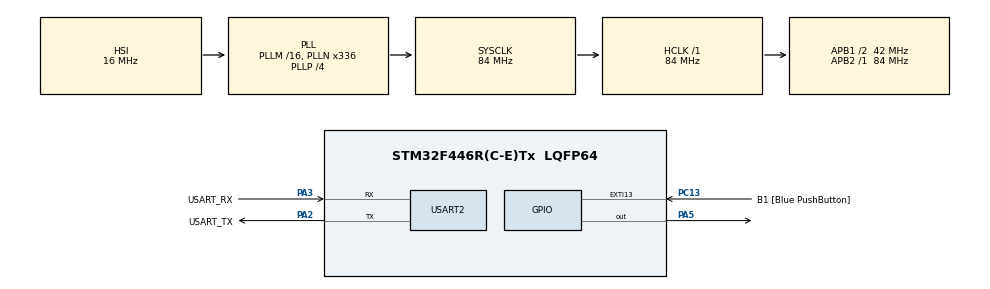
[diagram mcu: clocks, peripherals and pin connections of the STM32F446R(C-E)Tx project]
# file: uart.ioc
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Mcu.Family=STM32F4
Mcu.Name=STM32F446R(C-E)Tx
Mcu.Package=LQFP64
NVIC.PriorityGroup=NVIC_PRIORITYGROUP_0
NVIC.USART2_IRQn=true\:0\:0\:false\:false\:true\:true\:true\:true
PA13.GPIO_Label=TMS
PA13.Mode=Serial_Wire
PA13.Signal=SYS_JTMS-SWDIO
PA14.GPIO_Label=TCK
PA14.Mode=Serial_Wire
PA14.Signal=SYS_JTCK-SWCLK
PA2.GPIO_Label=USART_TX
PA2.Mode=Asynchronous
PA2.Signal=USART2_TX
PA3.GPIO_Label=USART_RX
PA3.Mode=Asynchronous
PA3.Signal=USART2_RX
PA5.Signal=GPIO_Output
PB3.GPIO_Label=SWO
PB3.Signal=SYS_JTDO-SWO
PC13.GPIO_Label=B1 [Blue PushButton]
PC13.GPIO_ModeDefaultEXTI=GPIO_MODE_IT_FALLING
PC13.Signal=GPXTI13
PC14-OSC32_IN.Mode=LSE-External-Oscillator
PC14-OSC32_IN.Signal=RCC_OSC32_IN
PC15-OSC32_OUT.Mode=LSE-External-Oscillator
PC15-OSC32_OUT.Signal=RCC_OSC32_OUT
PH0-OSC_IN.Mode=HSE-External-Oscillator
PH0-OSC_IN.Signal=RCC_OSC_IN
PH1-OSC_OUT.Mode=HSE-External-Oscillator
PH1-OSC_OUT.Signal=RCC_OSC_OUT
ProjectManager.HeapSize=0x200
ProjectManager.StackSize=0x400
ProjectManager.TargetToolchain=STM32CubeIDE
RCC.48MHZClocksFreq_Value=84000000
RCC.AHBFreq_Value=84000000
RCC.APB1CLKDivider=RCC_HCLK_DIV2
RCC.APB1Freq_Value=42000000
RCC.APB1TimFreq_Value=84000000
RCC.APB2Freq_Value=84000000
RCC.APB2TimFreq_Value=84000000
RCC.CortexFreq_Value=84000000
RCC.FLatency-AdvancedSettings=FLASH_LATENCY_2
RCC.HCLKFreq_Value=84000000
RCC.HSE_VALUE=8000000
RCC.HSI_VALUE=16000000
RCC.PLLN=336
RCC.PLLP=RCC_PLLP_DIV4
RCC.SYSCLKFreq_VALUE=84000000
RCC.SYSCLKSource=RCC_SYSCLKSOURCE_PLLCLK
RCC.USBFreq_Value=168000000
RCC.VCOOutputFreq_Value=336000000
USART2.VirtualMode=VM_ASYNC
board=NUCLEO-F446RE

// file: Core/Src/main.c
/* USER CODE BEGIN Header */
/**
  ******************************************************************************
  * @file           : main.c
  * @brief          : Main program body
  ******************************************************************************
  * @attention
  *
  * Copyright (c) 2026 STMicroelectronics.
  * All rights reserved.
  *
  * This software is licensed under terms that can be found in the LICENSE file
  * in the root directory of this software component.
  * If no LICENSE file comes with this software, it is provided AS-IS.
  *
  ******************************************************************************
  */
/* USER CODE END Header */
#include "main.h"

/* USER CODE BEGIN Includes */
#include <stdio.h>
#include <string.h>
/* USER CODE END Includes */

UART_HandleTypeDef huart2;

/* USER CODE BEGIN PV */

uint8_t rx_data[1];
uint8_t rx_buffer[100];
uint8_t rx_index = 0;
uint8_t tx_buffer[50];

/* USER CODE END PV */

void SystemClock_Config(void);
static void MX_GPIO_Init(void);
static void MX_USART2_UART_Init(void);

int main(void)
{

  /* MCU Configuration--------------------------------------------------------*/

  /* Reset of all peripherals, Initializes the Flash interface and the Systick. */
  HAL_Init();

  /* Configure the system clock */
  SystemClock_Config();

  /* Initialize all configured peripherals */
  MX_GPIO_Init();
  MX_USART2_UART_Init();

  /* USER CODE BEGIN 2 */
  HAL_UART_Receive_IT(&huart2, rx_data, 1);

  /* USER CODE END 2 */

  /* Infinite loop */
  while (1)
  {

    /* USER CODE BEGIN 3 */
	  // Transmit messages from board to computer (a little more required, like COM port)
//	  HAL_UART_Transmit(&huart2, tx_buffer, 27, 10);
//	  HAL_Delay(1000);

  }
  /* USER CODE END 3 */
}

void SystemClock_Config(void)
{
  RCC_OscInitTypeDef RCC_OscInitStruct = {0};
  RCC_ClkInitTypeDef RCC_ClkInitStruct = {0};

  /** Configure the main internal regulator output voltage
  */
  __HAL_RCC_PWR_CLK_ENABLE();
  __HAL_PWR_VOLTAGESCALING_CONFIG(PWR_REGULATOR_VOLTAGE_SCALE3);

  /** Initializes the RCC Oscillators according to the specified parameters
  * in the RCC_OscInitTypeDef structure.
  */
  RCC_OscInitStruct.OscillatorType = RCC_OSCILLATORTYPE_HSI;
  RCC_OscInitStruct.HSIState = RCC_HSI_ON;
  RCC_OscInitStruct.HSICalibrationValue = RCC_HSICALIBRATION_DEFAULT;
  RCC_OscInitStruct.PLL.PLLState = RCC_PLL_ON;
  RCC_OscInitStruct.PLL.PLLSource = RCC_PLLSOURCE_HSI;
  RCC_OscInitStruct.PLL.PLLM = 16;
  RCC_OscInitStruct.PLL.PLLN = 336;
  RCC_OscInitStruct.PLL.PLLP = RCC_PLLP_DIV4;
  RCC_OscInitStruct.PLL.PLLQ = 2;
  RCC_OscInitStruct.PLL.PLLR = 2;
  if (HAL_RCC_OscConfig(&RCC_OscInitStruct) != HAL_OK)
  {
    Error_Handler();
  }

  /** Initializes the CPU, AHB and APB buses clocks
  */
  RCC_ClkInitStruct.ClockType = RCC_CLOCKTYPE_HCLK|RCC_CLOCKTYPE_SYSCLK
                              |RCC_CLOCKTYPE_PCLK1|RCC_CLOCKTYPE_PCLK2;
  RCC_ClkInitStruct.SYSCLKSource = RCC_SYSCLKSOURCE_PLLCLK;
  RCC_ClkInitStruct.AHBCLKDivider = RCC_SYSCLK_DIV1;
  RCC_ClkInitStruct.APB1CLKDivider = RCC_HCLK_DIV2;
  RCC_ClkInitStruct.APB2CLKDivider = RCC_HCLK_DIV1;

  if (HAL_RCC_ClockConfig(&RCC_ClkInitStruct, FLASH_LATENCY_2) != HAL_OK)
  {
    Error_Handler();
  }
}

static void MX_USART2_UART_Init(void)
{

  huart2.Instance = USART2;
  huart2.Init.BaudRate = 115200;
  huart2.Init.WordLength = UART_WORDLENGTH_8B;
  huart2.Init.StopBits = UART_STOPBITS_1;
  huart2.Init.Parity = UART_PARITY_NONE;
  huart2.Init.Mode = UART_MODE_TX_RX;
  huart2.Init.HwFlowCtl = UART_HWCONTROL_NONE;
  huart2.Init.OverSampling = UART_OVERSAMPLING_16;
  if (HAL_UART_Init(&huart2) != HAL_OK)
  {
    Error_Handler();
  }

}

static void MX_GPIO_Init(void)
{
  GPIO_InitTypeDef GPIO_InitStruct = {0};

  /* GPIO Ports Clock Enable */
  __HAL_RCC_GPIOC_CLK_ENABLE();
  __HAL_RCC_GPIOH_CLK_ENABLE();
  __HAL_RCC_GPIOA_CLK_ENABLE();
  __HAL_RCC_GPIOB_CLK_ENABLE();

  /*Configure GPIO pin Output Level */
  HAL_GPIO_WritePin(GPIOA, GPIO_PIN_5, GPIO_PIN_RESET);

  /*Configure GPIO pin : B1_Pin */
  GPIO_InitStruct.Pin = B1_Pin;
  GPIO_InitStruct.Mode = GPIO_MODE_IT_FALLING;
  GPIO_InitStruct.Pull = GPIO_NOPULL;
  HAL_GPIO_Init(B1_GPIO_Port, &GPIO_InitStruct);

  /*Configure GPIO pin : PA5 */
  GPIO_InitStruct.Pin = GPIO_PIN_5;
  GPIO_InitStruct.Mode = GPIO_MODE_OUTPUT_PP;
  GPIO_InitStruct.Pull = GPIO_NOPULL;
  GPIO_InitStruct.Speed = GPIO_SPEED_FREQ_LOW;
  HAL_GPIO_Init(GPIOA, &GPIO_InitStruct);

}

/* USER CODE BEGIN 4 */

void HAL_UART_RxCpltCallback(UART_HandleTypeDef *huart)
{
  UNUSED(huart);

  if (rx_data[0] == '\n' || rx_data[0] == '\r')
  {
    if (rx_index > 0)
    {
      uint8_t count = rx_index;
      sprintf((char*)tx_buffer, "Character count: %d\r\n", count);
      HAL_UART_Transmit(&huart2, tx_buffer, strlen((char*)tx_buffer), 100);
      rx_index = 0;
    }
  }
  else if (rx_index < sizeof(rx_buffer) - 1)
  {
    rx_buffer[rx_index++] = rx_data[0];
  }

  HAL_UART_Receive_IT(&huart2, rx_data, 1);
}

/* USER CODE END 4 */

void Error_Handler(void)
{
  __disable_irq();
  while (1)
  {
  }
}
